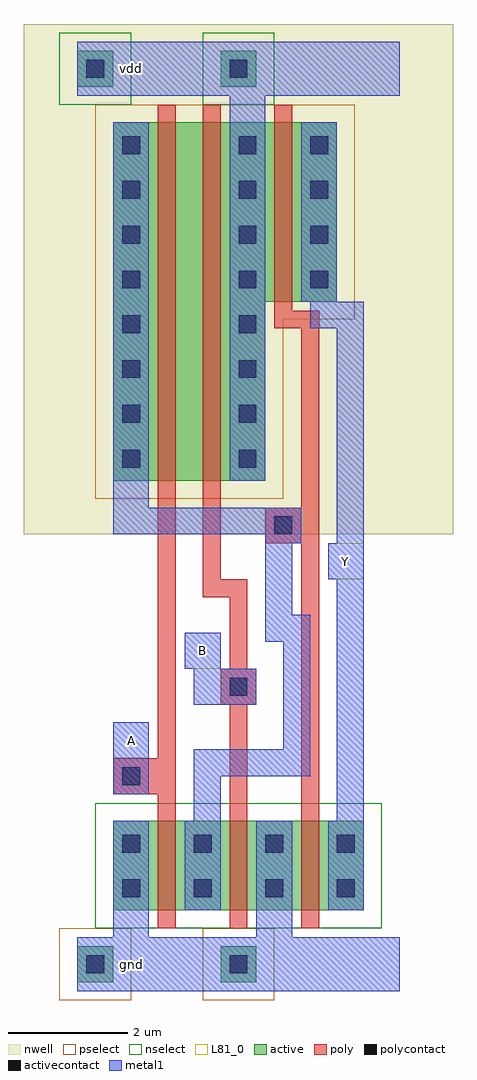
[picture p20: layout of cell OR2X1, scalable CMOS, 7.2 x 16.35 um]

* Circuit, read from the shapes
.subckt OR2X1 A B Y gnd vdd
M1 n1 A gnd gnd nfet w=1.5u l=0.3u
M2 gnd B n1 gnd nfet w=1.5u l=0.3u
M3 Y n1 gnd gnd nfet w=1.5u l=0.3u
M4 n2 A n1 vdd pfet w=6u l=0.3u
M5 vdd B n2 vdd pfet w=6u l=0.3u
M6 Y n1 vdd vdd pfet w=3u l=0.3u
.ends

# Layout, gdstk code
import gdstk
lib = gdstk.Library(unit=1e-6, precision=1e-09)
def R(c, l, rs):  # rectangles x0, y0, x1, y1
    for r in rs: c.add(gdstk.rectangle(r[:2], r[2:], *l))
def A(c, l, x, y, w, h, nx, ny, dx, dy):  # array of equal rectangles
    R(c, l, [(x+i*dx, y+j*dy, x+i*dx+w, y+j*dy+h) for i in range(nx) for j in range(ny)])
nwell = (42, 0)
active = (43, 0)
pselect = (44, 0)
nselect = (45, 0)
poly = (46, 0)
polycontact = (47, 0)
activecontact = (48, 0)
metal1 = (49, 0)
L81_0 = (81, 0)

or2x1 = lib.new_cell('OR2X1')
R(or2x1, nwell, [(-1.2,7.2,6,15.75)])
R(or2x1, active, [(-0.3,-0.3,0.3,0.3), (2.1,-0.3,2.7,0.3), (0.3,0.9,4.5,2.4), (0.3,8.1,2.85,11.1), (0.3,11.1,4.05,14.1), (-0.3,14.7,0.3,15.3), (2.1,14.7,2.7,15.3)])
R(or2x1, pselect, [(-0.6,-0.6,0.6,0.6), (1.8,-0.6,3,0.6), (0,7.8,3.15,10.8), (0,10.8,4.35,14.4)])
R(or2x1, nselect, [(0,0.6,4.8,2.7), (-0.6,14.4,0.6,15.6), (1.8,14.4,3,15.6)])
R(or2x1, poly, [(1.05,0.6,1.35,2.85), (2.25,0.6,2.55,4.35), (3.45,0.6,3.75,7.05), (0.3,2.85,1.35,3.45), (1.05,3.45,1.35,14.4), (2.1,4.35,2.7,4.95), (2.25,4.95,2.55,6.15), (1.8,6.15,2.55,6.45), (1.8,6.45,2.1,14.4), (2.85,7.05,3.75,7.65), (3.45,7.65,3.75,10.65), (3,10.65,3.75,10.95), (3,10.95,3.3,14.4)])
R(or2x1, polycontact, [(0.45,3,0.75,3.3), (2.25,4.5,2.55,4.8), (3,7.2,3.3,7.5)])
A(or2x1, activecontact, 0.45, 1.12, 0.3, 0.3, 4, 2, 1.2, 0.75)
A(or2x1, activecontact, 0.45, 8.32, 0.3, 0.3, 1, 8, 0, 0.75)
A(or2x1, activecontact, 2.4, 8.32, 0.3, 0.3, 1, 8, 0, 0.75)
A(or2x1, activecontact, 3.6, 11.32, 0.3, 0.3, 1, 4, 0, 0.75)
R(or2x1, activecontact, [(-0.15,-0.15,0.15,0.15), (2.25,-0.15,2.55,0.15), (-0.15,14.85,0.15,15.15), (2.25,14.85,2.55,15.15)])
R(or2x1, metal1, [(-0.3,-0.45,5.1,0.45), (0.3,0.45,0.9,2.4), (2.7,0.45,3.3,2.4), (1.5,0.9,2.1,2.4), (3.9,0.9,4.5,2.4), (1.65,2.4,2.1,3.15), (4.05,2.4,4.5,6.45), (0.3,2.85,0.9,4.05), (1.65,3.15,3.6,3.6), (3.15,3.6,3.6,5.4), (1.65,4.35,2.7,4.95), (1.5,4.95,2.1,5.55), (2.85,5.4,3.6,5.85), (2.85,5.85,3.3,7.05), (3.9,6.45,4.5,7.05), (2.85,7.05,3.45,7.2), (4.05,7.05,4.5,10.65), (0.3,7.2,3.45,7.65), (0.3,7.65,0.9,14.1), (2.25,8.1,2.85,14.55), (3.6,10.65,4.5,11.1), (3.45,11.1,4.05,14.1), (-0.3,14.55,5.1,15.45)])
R(or2x1, L81_0, [(0.3,3.45,0.9,4.05), (1.5,4.95,2.1,5.55), (3.9,6.45,4.5,7.05)])
or2x1.add(gdstk.Label('Y', (4.2,6.75), layer=109, texttype=0))
or2x1.add(gdstk.Label('B', (1.8,5.25), layer=109, texttype=0))
or2x1.add(gdstk.Label('vdd', (0.6,15), layer=109, texttype=0))
or2x1.add(gdstk.Label('gnd', (0.6,0), layer=109, texttype=0))
or2x1.add(gdstk.Label('A', (0.6,3.75), layer=109, texttype=0))

lib.write_gds('OR2X1.gds')
